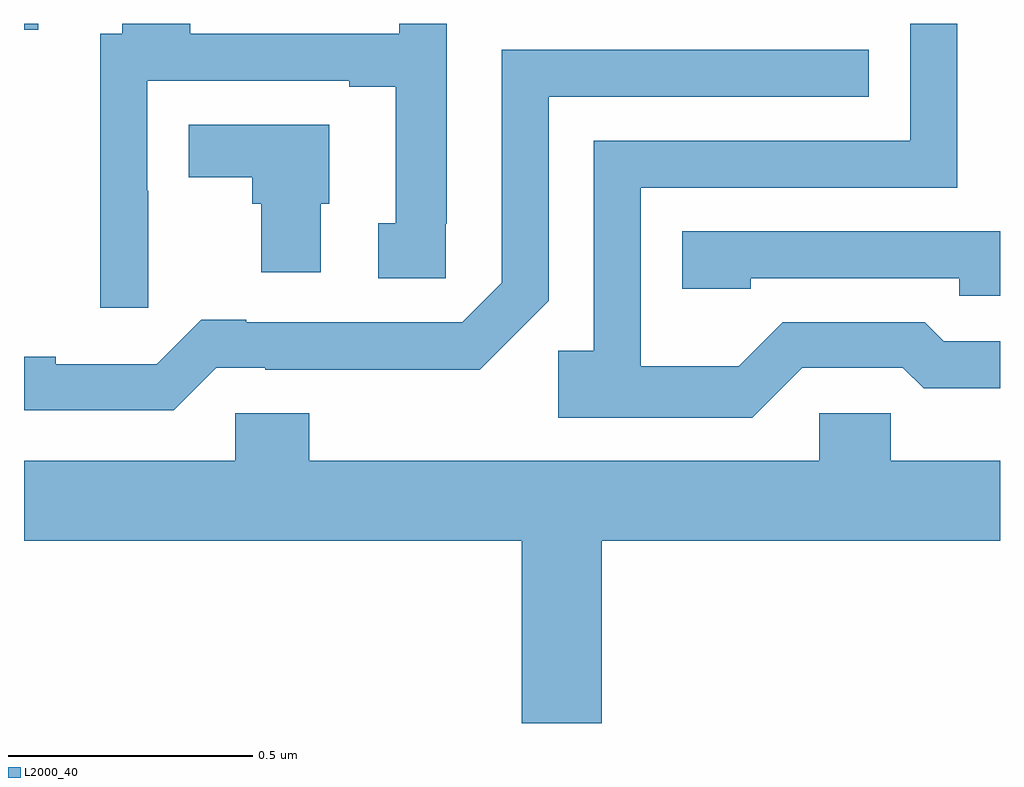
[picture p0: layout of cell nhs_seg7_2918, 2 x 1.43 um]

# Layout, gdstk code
import gdstk
lib = gdstk.Library(unit=1e-6, precision=1e-09)
def R(c, l, rs):  # rectangles x0, y0, x1, y1
    for r in rs: c.add(gdstk.rectangle(r[:2], r[2:], *l))
def P(c, l, *ps):  # polygons
    for p in ps: c.add(gdstk.Polygon(p, *l))
L2000_40 = (2000, 40)

nhs_seg7_2918 = lib.new_cell('nhs_seg7_2918')
R(nhs_seg7_2918, L2000_40, [(152,1010.987,152.029,1011)])
P(nhs_seg7_2918, L2000_40, [(153.595,1010.295),(153.801,1010.295),(153.844,1010.253),(154,1010.253),(154,1010.349),(153.885,1010.349),(153.846,1010.388),(153.555,1010.388),(153.465,1010.298),(153.264,1010.298),(153.264,1010.664),(153.912,1010.664),(153.912,1011),(153.816,1011),(153.816,1010.76),(153.168,1010.76),(153.168,1010.33),(153.095,1010.33),(153.095,1010.192),(153.492,1010.192)],
  [(152.255,1010.658),(152.253,1010.658),(152.253,1010.883),(152.666,1010.883),(152.666,1010.871),(152.762,1010.871),(152.762,1010.591),(152.726,1010.591),(152.726,1010.478),(152.864,1010.478),(152.864,1010.59),(152.866,1010.59),(152.866,1011),(152.769,1011),(152.769,1010.979),(152.341,1010.979),(152.341,1011),(152.201,1011),(152.201,1010.979),(152.156,1010.979),(152.156,1010.418),(152.255,1010.418)],
  [(152.394,1010.295),(152.494,1010.295),(152.494,1010.291),(152.934,1010.291),(153.075,1010.432),(153.075,1010.85),(153.731,1010.85),(153.731,1010.946),(152.979,1010.946),(152.979,1010.469),(152.898,1010.388),(152.455,1010.388),(152.455,1010.393),(152.363,1010.393),(152.272,1010.302),(152.065,1010.302),(152.065,1010.317),(152,1010.317),(152,1010.208),(152.307,1010.208)],
  [(152.608,1010.631),(152.626,1010.631),(152.626,1010.793),(152.338,1010.793),(152.338,1010.685),(152.468,1010.685),(152.468,1010.631),(152.486,1010.631),(152.486,1010.49),(152.608,1010.49)],
  [(154,1010.574),(153.349,1010.574),(153.349,1010.457),(153.489,1010.457),(153.489,1010.478),(153.917,1010.478),(153.917,1010.442),(154,1010.442)],
  [(153.184,1009.94),(154,1009.94),(154,1010.104),(153.776,1010.104),(153.776,1010.202),(153.63,1010.202),(153.63,1010.104),(152.585,1010.104),(152.585,1010.202),(152.433,1010.202),(152.433,1010.104),(152,1010.104),(152,1009.94),(153.02,1009.94),(153.02,1009.566),(153.184,1009.566)])

lib.write_gds('nhs_seg7_2918.gds')
